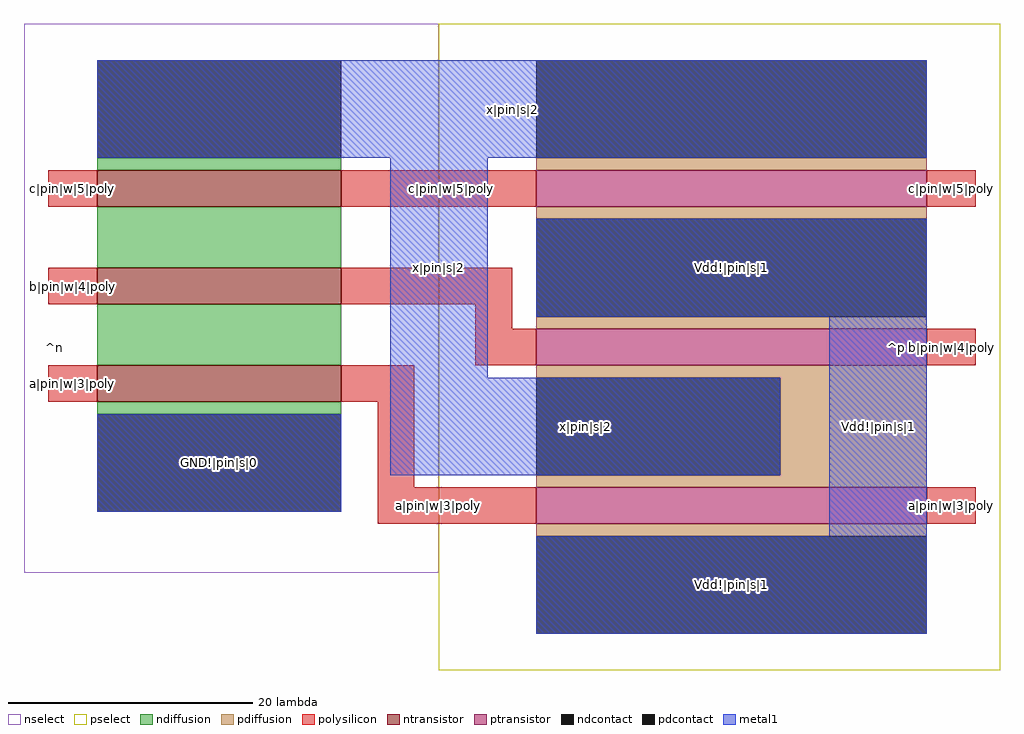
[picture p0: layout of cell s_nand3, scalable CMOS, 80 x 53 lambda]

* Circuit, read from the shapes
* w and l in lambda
.subckt s_nand3 GND!|pin|s|0 Vdd!|pin|s|1 a|pin|w|3|poly b|pin|w|4|poly c|pin|w|5|poly x|pin|s|2
M1 n1 a|pin|w|3|poly GND!|pin|s|0 VSUBS nfet w=20 l=3
M2 n2 b|pin|w|4|poly n1 VSUBS nfet w=20 l=3
M3 x|pin|s|2 c|pin|w|5|poly n2 VSUBS nfet w=20 l=3
M4 x|pin|s|2 a|pin|w|3|poly Vdd!|pin|s|1 NWELL pfet w=32 l=3
M5 Vdd!|pin|s|1 b|pin|w|4|poly x|pin|s|2 NWELL pfet w=32 l=3
M6 x|pin|s|2 c|pin|w|5|poly Vdd!|pin|s|1 NWELL pfet w=32 l=3
.ends

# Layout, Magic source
magic
tech scmos
<< nselect >>
rect -34 483 0 528
<< pselect >>
rect 0 475 46 528
<< ndiffusion >>
rect -28 516 -8 517
rect -28 508 -8 513
rect -28 500 -8 505
rect -28 496 -8 497
<< pdiffusion >>
rect 8 516 40 517
rect 8 512 40 513
rect 8 503 40 504
rect 8 499 40 500
rect 28 491 40 499
rect 8 490 40 491
rect 8 486 40 487
<< ntransistor >>
rect -28 513 -8 516
rect -28 505 -8 508
rect -28 497 -8 500
<< ptransistor >>
rect 8 513 40 516
rect 8 500 40 503
rect 8 487 40 490
<< polysilicon >>
rect -32 513 -28 516
rect -8 513 8 516
rect 40 513 44 516
rect -32 505 -28 508
rect -8 505 6 508
rect 3 503 6 505
rect 3 500 8 503
rect 40 500 44 503
rect -32 497 -28 500
rect -8 497 -2 500
rect -5 490 -2 497
rect -5 487 8 490
rect 40 487 44 490
<< ndcontact >>
rect -28 517 -8 525
rect -28 488 -8 496
<< pdcontact >>
rect 8 517 40 525
rect 8 504 40 512
rect 8 491 28 499
rect 8 478 40 486
<< metal1 >>
rect -28 517 40 525
rect -4 499 4 517
rect 8 504 40 512
rect -28 488 -8 496
rect -4 491 28 499
rect 32 486 40 504
rect 8 478 40 486
<< labels >>
rlabel space -35 475 -28 528 7 ^n
rlabel space 28 475 47 528 3 ^p
rlabel metal1 -28 488 -8 496 1 GND!|pin|s|0
rlabel metal1 32 478 40 512 1 Vdd!|pin|s|1
rlabel metal1 -4 491 4 525 1 x|pin|s|2
rlabel metal1 -28 517 40 525 1 x|pin|s|2
rlabel metal1 -4 491 28 499 1 x|pin|s|2
rlabel polysilicon 40 487 44 490 1 a|pin|w|3|poly
rlabel polysilicon -2 487 2 490 1 a|pin|w|3|poly
rlabel polysilicon -32 497 -28 500 1 a|pin|w|3|poly
rlabel polysilicon -32 505 -28 508 1 b|pin|w|4|poly
rlabel polysilicon 40 500 44 503 1 b|pin|w|4|poly
rlabel polysilicon 40 513 44 516 1 c|pin|w|5|poly
rlabel polysilicon -1 513 3 516 1 c|pin|w|5|poly
rlabel polysilicon -32 513 -28 516 1 c|pin|w|5|poly
rlabel metal1 8 478 40 486 1 Vdd!|pin|s|1
rlabel metal1 8 504 40 512 1 Vdd!|pin|s|1
<< end >>
